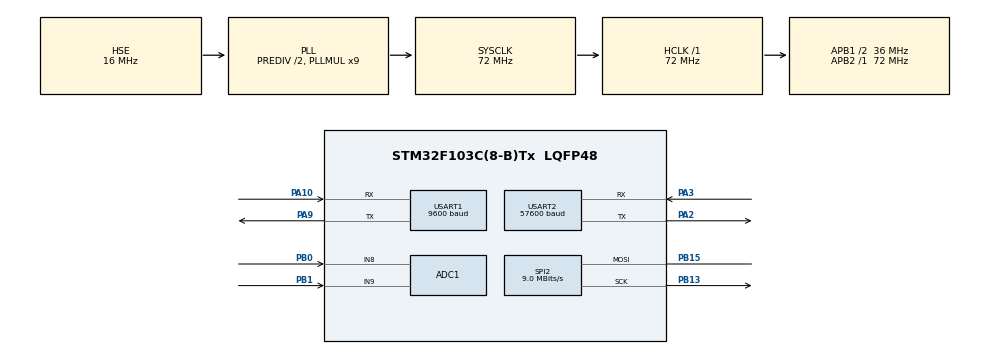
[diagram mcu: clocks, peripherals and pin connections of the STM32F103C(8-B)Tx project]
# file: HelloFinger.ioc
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ADC1.Channel-0\#ChannelRegularConversion=ADC_CHANNEL_8
ADC1.Channel-1\#ChannelRegularConversion=ADC_CHANNEL_9
ADC1.NbrOfConversion=2
ADC1.NbrOfConversionFlag=1
ADC1.Rank-0\#ChannelRegularConversion=1
ADC1.Rank-1\#ChannelRegularConversion=2
ADC1.SamplingTime-0\#ChannelRegularConversion=ADC_SAMPLETIME_239CYCLES_5
ADC1.SamplingTime-1\#ChannelRegularConversion=ADC_SAMPLETIME_239CYCLES_5
ADC1.master=1
Dma.ADC1.0.Direction=DMA_PERIPH_TO_MEMORY
Dma.ADC1.0.Instance=DMA1_Channel1
Dma.ADC1.0.MemDataAlignment=DMA_MDATAALIGN_HALFWORD
Dma.ADC1.0.MemInc=DMA_MINC_ENABLE
Dma.ADC1.0.Mode=DMA_NORMAL
Dma.ADC1.0.PeriphDataAlignment=DMA_PDATAALIGN_HALFWORD
Dma.ADC1.0.PeriphInc=DMA_PINC_DISABLE
Dma.ADC1.0.Priority=DMA_PRIORITY_HIGH
Dma.Request0=ADC1
Mcu.Family=STM32F1
Mcu.Name=STM32F103C(8-B)Tx
Mcu.Package=LQFP48
NVIC.DMA1_Channel1_IRQn=true\:3\:1\:true\:false\:true\:false\:true\:true
NVIC.PriorityGroup=NVIC_PRIORITYGROUP_2
NVIC.TIM1_UP_IRQn=true\:3\:0\:true\:false\:true\:true\:true\:true
NVIC.USART1_IRQn=true\:2\:1\:true\:false\:true\:true\:true\:true
NVIC.USART2_IRQn=true\:1\:0\:true\:false\:true\:true\:true\:true
PA0-WKUP.Signal=ADCx_IN0
PA10.Mode=Asynchronous
PA10.Signal=USART1_RX
PA13.Mode=Serial_Wire
PA13.Signal=SYS_JTMS-SWDIO
PA14.Mode=Serial_Wire
PA14.Signal=SYS_JTCK-SWCLK
PA2.Mode=Asynchronous
PA2.Signal=USART2_TX
PA3.Mode=Asynchronous
PA3.Signal=USART2_RX
PA9.Mode=Asynchronous
PA9.Signal=USART1_TX
PB0.Signal=ADCx_IN8
PB1.Signal=ADCx_IN9
PB13.Mode=Simplex_Bidirectional_Master
PB13.Signal=SPI2_SCK
PB15.Mode=Simplex_Bidirectional_Master
PB15.Signal=SPI2_MOSI
PD0-OSC_IN.Mode=HSE-External-Oscillator
PD0-OSC_IN.Signal=RCC_OSC_IN
PD1-OSC_OUT.Mode=HSE-External-Oscillator
PD1-OSC_OUT.Signal=RCC_OSC_OUT
ProjectManager.HeapSize=0x200
ProjectManager.StackSize=0x400
ProjectManager.TargetToolchain=MDK-ARM V5.27
RCC.ADCPresc=RCC_ADCPCLK2_DIV6
RCC.AHBFreq_Value=72000000
RCC.APB1CLKDivider=RCC_HCLK_DIV2
RCC.APB1Freq_Value=36000000
RCC.APB1TimFreq_Value=72000000
RCC.APB2Freq_Value=72000000
RCC.APB2TimFreq_Value=72000000
RCC.HCLKFreq_Value=72000000
RCC.HSEDivPLL=RCC_HSE_PREDIV_DIV2
RCC.HSE_VALUE=16000000
RCC.PLLMUL=RCC_PLL_MUL9
RCC.PLLSourceVirtual=RCC_PLLSOURCE_HSE
RCC.SYSCLKFreq_VALUE=72000000
RCC.SYSCLKSource=RCC_SYSCLKSOURCE_PLLCLK
RCC.USBFreq_Value=72000000
SH.ADCx_IN0.0=ADC1_IN0
SH.ADCx_IN8.0=ADC1_IN8,IN8
SH.ADCx_IN9.0=ADC1_IN9,IN9
SPI2.BaudRatePrescaler=SPI_BAUDRATEPRESCALER_4
SPI2.CalculateBaudRate=9.0 MBits/s
SPI2.Direction=SPI_DIRECTION_1LINE
SPI2.Mode=SPI_MODE_MASTER
SPI2.VirtualType=VM_MASTER
TIM1.AutoReloadPreload=TIM_AUTORELOAD_PRELOAD_ENABLE
TIM1.Period=49
TIM1.Prescaler=7199
USART1.BaudRate=9600
USART1.VirtualMode=VM_ASYNC
USART2.BaudRate=57600
USART2.VirtualMode=VM_ASYNC
VP_TIM1_VS_ClockSourceINT.Mode=Internal
board=custom

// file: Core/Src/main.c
/* USER CODE BEGIN Header */
/**
  ******************************************************************************
  * @file           : main.c
  * @brief          : Main program body
  ******************************************************************************
  * @attention
  *
  * Copyright (c) 2023 STMicroelectronics.
  * All rights reserved.
  *
  * This software is licensed under terms that can be found in the LICENSE file
  * in the root directory of this software component.
  * If no LICENSE file comes with this software, it is provided AS-IS.
  *
  ******************************************************************************
  */
/* USER CODE END Header */
#include "main.h"
#include "adc.h"
#include "dma.h"
#include "spi.h"
#include "tim.h"
#include "usart.h"
#include "gpio.h"

/* USER CODE BEGIN Includes */
//#include "led.h"
#include "key.h"
#include "delay.h"
#include "ch9329.h"
#include "func_info.h"
#include "func_fingerprint.h"
#include "fpm383c.h"
#include "func_keyboard.h"
#include "soft_iic.h"
#include "at24c64.h"
#include "string.h"
#include "encoder.h"
#include "ws2812b.h"
#include "ws2812b_interface.h"
/* USER CODE END Includes */

void SystemClock_Config(void);

/* USER CODE BEGIN 0 */
ws2812b_handle_t ws2812_handle;
static uint32_t gs_rgb[21];
static uint8_t gs_temp[1024];
/* USER CODE END 0 */

int main(void)
{
  /* USER CODE BEGIN 1 */
	//SCB->VTOR = FLASH_BASE|0x2800;
  /* USER CODE END 1 */

  /* MCU Configuration--------------------------------------------------------*/

  /* Reset of all peripherals, Initializes the Flash interface and the Systick. */
  HAL_Init();

  /* Configure the system clock */
  SystemClock_Config();

  /* Initialize all configured peripherals */
  MX_GPIO_Init();
  MX_DMA_Init();
  MX_ADC1_Init();
  MX_USART1_UART_Init();
  MX_USART2_UART_Init();
  MX_TIM1_Init();
  MX_SPI2_Init();
  ///* USER CODE BEGIN 2 */
	Delay_Init();
	//LED_Init();
	KEY_Init();
	ENCODER_Init();
	FPM383C_Init();
	IIC_Init();

	ws2812b_init(&ws2812_handle);

	uint32_t rgb;
	uint8_t r,g,b;
	r = 0x0F;                               /* set red */
  g = 0x0F;                                /* set green */
  b = 0x0F;                                /* set blue */
  rgb = ((uint32_t)(r) << 16) | ((uint32_t)(g) << 8) | b;

	/* write color */
	for (uint8_t i = 0; i < 21; i++)
	{
			gs_rgb[i] = rgb;//0xE0;
	}

/* write data */
	ws2812b_write(&ws2812_handle,gs_rgb, 12, gs_temp, 1024);

	Delay_ms(1000);
	CH9329_Init();
	CmdConnect();

	//GetTableState();
	Con_ControlBLN(LED_FUNC_OPEN,LED_COLOR_RED|LED_COLOR_BLUE,LED_COLOR_RED|LED_COLOR_BLUE,0);
	Delay_ms(2000);
	//UnLock(960,625,"asd13579",8);
	uint8_t test[5] = {0xAB,1,2,3,4};
	uint8_t read[5] = {0};

  /* USER CODE END 2 */

  /* Infinite loop */
  while (1)
  {
		FPM383_Handler(&g_finger_rec_flag);
  }
}

void SystemClock_Config(void)
{
  RCC_OscInitTypeDef RCC_OscInitStruct = {0};
  RCC_ClkInitTypeDef RCC_ClkInitStruct = {0};
  RCC_PeriphCLKInitTypeDef PeriphClkInit = {0};

  /** Initializes the RCC Oscillators according to the specified parameters
  * in the RCC_OscInitTypeDef structure.
  */
  RCC_OscInitStruct.OscillatorType = RCC_OSCILLATORTYPE_HSE;
  RCC_OscInitStruct.HSEState = RCC_HSE_ON;
  RCC_OscInitStruct.HSEPredivValue = RCC_HSE_PREDIV_DIV2;
  RCC_OscInitStruct.HSIState = RCC_HSI_ON;
  RCC_OscInitStruct.PLL.PLLState = RCC_PLL_ON;
  RCC_OscInitStruct.PLL.PLLSource = RCC_PLLSOURCE_HSE;
  RCC_OscInitStruct.PLL.PLLMUL = RCC_PLL_MUL9;
  if (HAL_RCC_OscConfig(&RCC_OscInitStruct) != HAL_OK)
  {
    Error_Handler();
  }

  /** Initializes the CPU, AHB and APB buses clocks
  */
  RCC_ClkInitStruct.ClockType = RCC_CLOCKTYPE_HCLK|RCC_CLOCKTYPE_SYSCLK
                              |RCC_CLOCKTYPE_PCLK1|RCC_CLOCKTYPE_PCLK2;
  RCC_ClkInitStruct.SYSCLKSource = RCC_SYSCLKSOURCE_PLLCLK;
  RCC_ClkInitStruct.AHBCLKDivider = RCC_SYSCLK_DIV1;
  RCC_ClkInitStruct.APB1CLKDivider = RCC_HCLK_DIV2;
  RCC_ClkInitStruct.APB2CLKDivider = RCC_HCLK_DIV1;

  if (HAL_RCC_ClockConfig(&RCC_ClkInitStruct, FLASH_LATENCY_2) != HAL_OK)
  {
    Error_Handler();
  }
  PeriphClkInit.PeriphClockSelection = RCC_PERIPHCLK_ADC;
  PeriphClkInit.AdcClockSelection = RCC_ADCPCLK2_DIV6;
  if (HAL_RCCEx_PeriphCLKConfig(&PeriphClkInit) != HAL_OK)
  {
    Error_Handler();
  }
}

void Error_Handler(void)
{
  __disable_irq();
  while (1)
  {
  }
}
